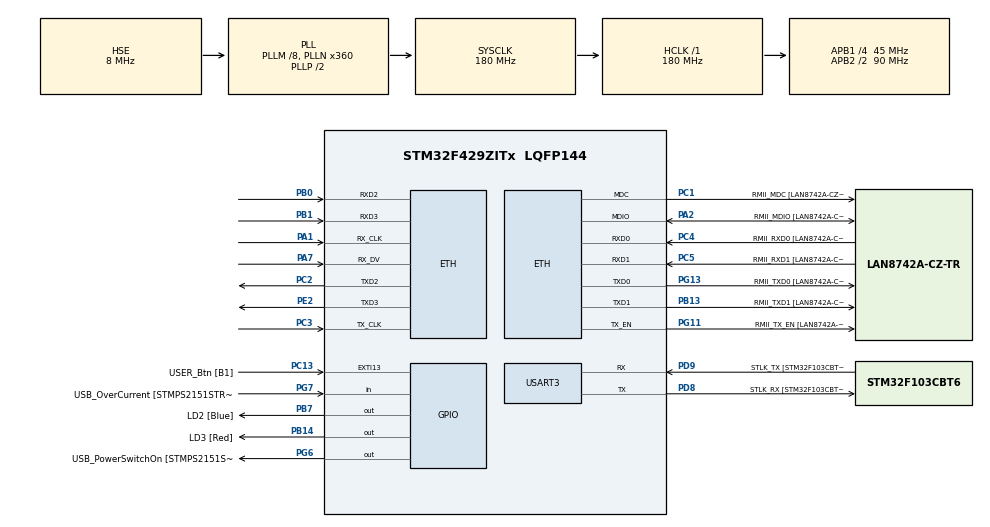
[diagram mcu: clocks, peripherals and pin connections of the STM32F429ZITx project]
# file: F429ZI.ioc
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Dma.Request0=USART3_RX
Dma.Request1=USART3_TX
Dma.USART3_RX.0.Direction=DMA_PERIPH_TO_MEMORY
Dma.USART3_RX.0.FIFOMode=DMA_FIFOMODE_DISABLE
Dma.USART3_RX.0.Instance=DMA1_Stream1
Dma.USART3_RX.0.MemDataAlignment=DMA_MDATAALIGN_BYTE
Dma.USART3_RX.0.MemInc=DMA_MINC_ENABLE
Dma.USART3_RX.0.Mode=DMA_CIRCULAR
Dma.USART3_RX.0.PeriphDataAlignment=DMA_PDATAALIGN_BYTE
Dma.USART3_RX.0.PeriphInc=DMA_PINC_DISABLE
Dma.USART3_RX.0.Priority=DMA_PRIORITY_VERY_HIGH
Dma.USART3_TX.1.Direction=DMA_MEMORY_TO_PERIPH
Dma.USART3_TX.1.FIFOMode=DMA_FIFOMODE_DISABLE
Dma.USART3_TX.1.Instance=DMA1_Stream3
Dma.USART3_TX.1.MemDataAlignment=DMA_MDATAALIGN_BYTE
Dma.USART3_TX.1.MemInc=DMA_MINC_ENABLE
Dma.USART3_TX.1.Mode=DMA_NORMAL
Dma.USART3_TX.1.PeriphDataAlignment=DMA_PDATAALIGN_BYTE
Dma.USART3_TX.1.PeriphInc=DMA_PINC_DISABLE
Dma.USART3_TX.1.Priority=DMA_PRIORITY_VERY_HIGH
ETH.MediaInterface=HAL_ETH_MII_MODE
FREERTOS.Tasks01=defaultTask,24,3000,StartDefaultTask,Default,NULL,Dynamic,NULL,NULL
Mcu.Family=STM32F4
Mcu.Name=STM32F429ZITx
Mcu.Package=LQFP144
NVIC.DMA1_Stream1_IRQn=true\:5\:0\:false\:false\:true\:true\:false\:true\:true
NVIC.DMA1_Stream3_IRQn=true\:5\:0\:false\:false\:true\:true\:false\:true\:true
NVIC.ETH_IRQn=true\:5\:0\:false\:false\:true\:true\:true\:true\:true
NVIC.PriorityGroup=NVIC_PRIORITYGROUP_4
NVIC.TIM1_UP_TIM10_IRQn=true\:15\:0\:false\:false\:true\:false\:false\:true\:true
NVIC.TimeBase=TIM1_UP_TIM10_IRQn
NVIC.TimeBaseIP=TIM1
NVIC.USART3_IRQn=true\:5\:0\:false\:false\:true\:true\:true\:true\:true
PA1.Mode=MII Full Duplex Only
PA1.Signal=ETH_RX_CLK
PA10.GPIO_Label=USB_ID
PA10.Signal=USB_OTG_FS_ID
PA11.GPIO_Label=USB_DM
PA11.Signal=USB_OTG_FS_DM
PA12.GPIO_Label=USB_DP
PA12.Signal=USB_OTG_FS_DP
PA13.GPIO_Label=TMS
PA13.Signal=SYS_JTMS-SWDIO
PA14.GPIO_Label=TCK
PA14.Signal=SYS_JTCK-SWCLK
PA2.GPIO_Label=RMII_MDIO [LAN8742A-CZ-TR_MDIO]
PA2.Mode=MII Full Duplex Only
PA2.Signal=ETH_MDIO
PA7.Mode=MII Full Duplex Only
PA7.Signal=ETH_RX_DV
PA8.GPIO_Label=USB_SOF [TP1]
PA8.Signal=USB_OTG_FS_SOF
PA9.GPIO_Label=USB_VBUS
PA9.Signal=USB_OTG_FS_VBUS
PB0.Mode=MII Full Duplex Only
PB0.Signal=ETH_RXD2
PB1.Mode=MII Full Duplex Only
PB1.Signal=ETH_RXD3
PB13.GPIO_Label=RMII_TXD1 [LAN8742A-CZ-TR_TXD1]
PB13.Mode=MII Full Duplex Only
PB13.Signal=ETH_TXD1
PB14.GPIO_Label=LD3 [Red]
PB14.Signal=GPIO_Output
PB7.GPIO_Label=LD2 [Blue]
PB7.Signal=GPIO_Output
PC1.GPIO_Label=RMII_MDC [LAN8742A-CZ-TR_MDC]
PC1.Mode=MII Full Duplex Only
PC1.Signal=ETH_MDC
PC13.GPIO_Label=USER_Btn [B1]
PC13.Signal=GPXTI13
PC14/OSC32_IN.Signal=RCC_OSC32_IN
PC15/OSC32_OUT.Signal=RCC_OSC32_OUT
PC2.Mode=MII Full Duplex Only
PC2.Signal=ETH_TXD2
PC3.Mode=MII Full Duplex Only
PC3.Signal=ETH_TX_CLK
PC4.GPIO_Label=RMII_RXD0 [LAN8742A-CZ-TR_RXD0]
PC4.Mode=MII Full Duplex Only
PC4.Signal=ETH_RXD0
PC5.GPIO_Label=RMII_RXD1 [LAN8742A-CZ-TR_RXD1]
PC5.Mode=MII Full Duplex Only
PC5.Signal=ETH_RXD1
PD8.GPIO_Label=STLK_RX [STM32F103CBT6_PA3]
PD8.Mode=Asynchronous
PD8.Signal=USART3_TX
PD9.GPIO_Label=STLK_TX [STM32F103CBT6_PA2]
PD9.Mode=Asynchronous
PD9.Signal=USART3_RX
PE2.Mode=MII Full Duplex Only
PE2.Signal=ETH_TXD3
PG11.GPIO_Label=RMII_TX_EN [LAN8742A-CZ-TR_TXEN]
PG11.Mode=MII Full Duplex Only
PG11.Signal=ETH_TX_EN
PG13.GPIO_Label=RMII_TXD0 [LAN8742A-CZ-TR_TXD0]
PG13.Mode=MII Full Duplex Only
PG13.Signal=ETH_TXD0
PG6.GPIO_Label=USB_PowerSwitchOn [STMPS2151STR_EN]
PG6.Signal=GPIO_Output
PG7.GPIO_Label=USB_OverCurrent [STMPS2151STR_FAULT]
PG7.Signal=GPIO_Input
PH0/OSC_IN.GPIO_Label=MCO [STM32F103CBT6_PA8]
PH0/OSC_IN.Mode=HSE-External-Oscillator
PH0/OSC_IN.Signal=RCC_OSC_IN
PH1/OSC_OUT.Mode=HSE-External-Oscillator
PH1/OSC_OUT.Signal=RCC_OSC_OUT
ProjectManager.HeapSize=0x200
ProjectManager.StackSize=0x400
ProjectManager.TargetToolchain=Makefile
RCC.48MHZClocksFreq_Value=90000000
RCC.AHBFreq_Value=180000000
RCC.APB1CLKDivider=RCC_HCLK_DIV4
RCC.APB1Freq_Value=45000000
RCC.APB1TimFreq_Value=90000000
RCC.APB2CLKDivider=RCC_HCLK_DIV2
RCC.APB2Freq_Value=90000000
RCC.APB2TimFreq_Value=180000000
RCC.CortexFreq_Value=180000000
RCC.HCLKFreq_Value=180000000
RCC.HSE_VALUE=8000000
RCC.HSI_VALUE=16000000
RCC.LSE_VALUE=32768
RCC.PLLM=8
RCC.PLLMUL=RCC_PLL_MUL9
RCC.PLLN=360
RCC.PLLSourceVirtual=RCC_PLLSOURCE_HSE
RCC.PRESCALERUSB=RCC_USBCLKSOURCE_PLL_DIV1_5
RCC.SYSCLKFreq_VALUE=180000000
RCC.SYSCLKSource=RCC_SYSCLKSOURCE_PLLCLK
RCC.SYSCLKSourceVirtual=RCC_SYSCLKSOURCE_PLLCLK
RCC.USBFreq_Value=48000000
RCC.VCOOutputFreq_Value=360000000
USART3.VirtualMode=VM_ASYNC
VP_FREERTOS_VS_CMSIS_V2.Mode=CMSIS_V2
VP_SYS_VS_tim1.Mode=TIM1
board=NUCLEO-F429ZI

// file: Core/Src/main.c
/* USER CODE BEGIN Header */
/**
  ******************************************************************************
  * @file           : main.c
  * @brief          : Main program body
  ******************************************************************************
  * @attention
  *
  * Copyright (c) 2024 STMicroelectronics.
  * All rights reserved.
  *
  * This software is licensed under terms that can be found in the LICENSE file
  * in the root directory of this software component.
  * If no LICENSE file comes with this software, it is provided AS-IS.
  *
  ******************************************************************************
  */
/* USER CODE END Header */
#include "main.h"
#include "cmsis_os.h"
#include "dma.h"
#include "eth.h"
#include "usart.h"
#include "gpio.h"

void SystemClock_Config(void);
void MX_FREERTOS_Init(void);

int main(void)
{

  /* MCU Configuration--------------------------------------------------------*/

  /* Reset of all peripherals, Initializes the Flash interface and the Systick. */
  HAL_Init();

  /* Configure the system clock */
  SystemClock_Config();

  /* Initialize all configured peripherals */
  MX_GPIO_Init();
  MX_DMA_Init();
  MX_USART3_UART_Init();
  //MX_ETH_Init();

  /* Init scheduler */
  osKernelInitialize();

  /* Call init function for freertos objects (in cmsis_os2.c) */
  MX_FREERTOS_Init();

  /* Start scheduler */
  osKernelStart();

  /* We should never get here as control is now taken by the scheduler */

  /* Infinite loop */
  while (1)
  {

  }
}

void SystemClock_Config(void)
{
  RCC_OscInitTypeDef RCC_OscInitStruct = {0};
  RCC_ClkInitTypeDef RCC_ClkInitStruct = {0};

  /** Configure the main internal regulator output voltage
  */
  __HAL_RCC_PWR_CLK_ENABLE();
  __HAL_PWR_VOLTAGESCALING_CONFIG(PWR_REGULATOR_VOLTAGE_SCALE1);

  /** Initializes the RCC Oscillators according to the specified parameters
  * in the RCC_OscInitTypeDef structure.
  */
  RCC_OscInitStruct.OscillatorType = RCC_OSCILLATORTYPE_HSE;
  RCC_OscInitStruct.HSEState = RCC_HSE_ON;
  RCC_OscInitStruct.PLL.PLLState = RCC_PLL_ON;
  RCC_OscInitStruct.PLL.PLLSource = RCC_PLLSOURCE_HSE;
  RCC_OscInitStruct.PLL.PLLM = 8;
  RCC_OscInitStruct.PLL.PLLN = 360;
  RCC_OscInitStruct.PLL.PLLP = RCC_PLLP_DIV2;
  RCC_OscInitStruct.PLL.PLLQ = 4;
  if (HAL_RCC_OscConfig(&RCC_OscInitStruct) != HAL_OK)
  {
    Error_Handler();
  }

  /** Activate the Over-Drive mode
  */
  if (HAL_PWREx_EnableOverDrive() != HAL_OK)
  {
    Error_Handler();
  }

  /** Initializes the CPU, AHB and APB buses clocks
  */
  RCC_ClkInitStruct.ClockType = RCC_CLOCKTYPE_HCLK|RCC_CLOCKTYPE_SYSCLK
                              |RCC_CLOCKTYPE_PCLK1|RCC_CLOCKTYPE_PCLK2;
  RCC_ClkInitStruct.SYSCLKSource = RCC_SYSCLKSOURCE_PLLCLK;
  RCC_ClkInitStruct.AHBCLKDivider = RCC_SYSCLK_DIV1;
  RCC_ClkInitStruct.APB1CLKDivider = RCC_HCLK_DIV4;
  RCC_ClkInitStruct.APB2CLKDivider = RCC_HCLK_DIV2;

  if (HAL_RCC_ClockConfig(&RCC_ClkInitStruct, FLASH_LATENCY_5) != HAL_OK)
  {
    Error_Handler();
  }
}

void HAL_TIM_PeriodElapsedCallback(TIM_HandleTypeDef *htim)
{
  if (htim->Instance == TIM1) {
    HAL_IncTick();
  }
}

void Error_Handler(void)
{
  __disable_irq();
  while (1)
  {
  }
}

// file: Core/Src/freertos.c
/* USER CODE BEGIN Header */
/**
  ******************************************************************************
  * File Name          : freertos.c
  * Description        : Code for freertos applications
  ******************************************************************************
  * @attention
  *
  * Copyright (c) 2024 STMicroelectronics.
  * All rights reserved.
  *
  * This software is licensed under terms that can be found in the LICENSE file
  * in the root directory of this software component.
  * If no LICENSE file comes with this software, it is provided AS-IS.
  *
  ******************************************************************************
  */
/* USER CODE END Header */

#include "FreeRTOS.h"
#include "task.h"
#include "main.h"
#include "cmsis_os.h"

/* USER CODE BEGIN Includes */
#include <stdbool.h>
#include <rcl/rcl.h>
#include <rcl/error_handling.h>
#include <rclc/rclc.h>
#include <rclc/executor.h>
#include <uxr/client/transport.h>
#include <rmw_microxrcedds_c/config.h>
#include <rmw_microros/rmw_microros.h>

#include <sensor_msgs/msg/joint_state.h>
#include <std_msgs/msg/int32.h>
#include "usart.h"
#include "can.h"
#include "lwip.h"
/* USER CODE END Includes */

/* USER CODE BEGIN PD */
#define TS 50

#define max(a,b)             \
({                           \
    __typeof__ (a) _a = (a); \
    __typeof__ (b) _b = (b); \
    _a > _b ? _a : _b;       \
})

#define min(a,b)             \
({                           \
    __typeof__ (a) _a = (a); \
    __typeof__ (b) _b = (b); \
    _a < _b ? _a : _b;       \
})

#ifndef ETH_TX_DESC_CNT
#define ETH_TX_DESC_CNT         4U
#endif /* ETH_TX_DESC_CNT */

#ifndef ETH_RX_DESC_CNT
#define ETH_RX_DESC_CNT         4U
#endif /* ETH_RX_DESC_CNT */

/* USER CODE END PD */

/* USER CODE BEGIN Variables */
int i = 50;

rcl_subscription_t subscriber;
rcl_publisher_t publisher;
/* USER CODE END Variables */
/* Definitions for defaultTask */
osThreadId_t defaultTaskHandle;
const osThreadAttr_t defaultTask_attributes = {
  .name = "defaultTask",
  .stack_size = 3000 * 4,
  .priority = (osPriority_t) osPriorityNormal,
};

/* USER CODE BEGIN FunctionPrototypes */
bool cubemx_transport_open(struct uxrCustomTransport * transport);
bool cubemx_transport_close(struct uxrCustomTransport * transport);
size_t cubemx_transport_write(struct uxrCustomTransport* transport, const uint8_t * buf, size_t len, uint8_t * err);
size_t cubemx_transport_read(struct uxrCustomTransport* transport, uint8_t* buf, size_t len, int timeout, uint8_t* err);

void * microros_allocate(size_t size, void * state);
void microros_deallocate(void * pointer, void * state);
void * microros_reallocate(void * pointer, size_t size, void * state);
void * microros_zero_allocate(size_t number_of_elements, size_t size_of_element, void * state);

#ifdef __GNUC__
#define PUTCHAR_PROTOTYPE int __io_putchar(int ch)
#else
#define PUTCHAR_PROTOTYPE int fputc(int ch, FILE *f)
#endif

PUTCHAR_PROTOTYPE
{
  HAL_UART_Transmit(&huart3, (uint8_t *)&ch, 1, HAL_MAX_DELAY);
  return ch;
}

void subscription_callback(const void *);

/* USER CODE END FunctionPrototypes */

void StartDefaultTask(void *argument);

extern void MX_LWIP_Init(void);
void MX_FREERTOS_Init(void); /* (MISRA C 2004 rule 8.1) */

void MX_FREERTOS_Init(void) {

  /* Create the thread(s) */
  /* creation of defaultTask */
  defaultTaskHandle = osThreadNew(StartDefaultTask, NULL, &defaultTask_attributes);

  /* USER CODE BEGIN RTOS_THREADS */
  /* add threads, ... */
  //TaskHandle = osThreadNew(publisherandsubscriber, NULL, &Task_attributes);
  /* USER CODE END RTOS_THREADS */

}

/* USER CODE BEGIN Header_publisher */
/* USER CODE END Header_StartDefaultTask */
void StartDefaultTask(void *argument)
{
  /* init code for LWIP */
  MX_LWIP_Init();
  /* USER CODE BEGIN StartDefaultTask */
  	rcl_ret_t ret;
	ret = rmw_uros_set_custom_transport(
		true,
		(void *) &huart3,         //change in you want a different type of comunication for ros2-agent
		cubemx_transport_open,
		cubemx_transport_close,
		cubemx_transport_write,
		cubemx_transport_read);

	if (ret != RCL_RET_OK)
	{
	    printf("Error setting custom transport");
	    //return;
	}

	rcl_allocator_t freeRTOS_allocator = rcutils_get_zero_initialized_allocator();
	freeRTOS_allocator.allocate = microros_allocate;
	freeRTOS_allocator.deallocate = microros_deallocate;
	freeRTOS_allocator.reallocate = microros_reallocate;
	freeRTOS_allocator.zero_allocate =  microros_zero_allocate;

	if (!rcutils_set_default_allocator(&freeRTOS_allocator))
	{
	  printf("Error on default allocators (line %d)\n", __LINE__);
	}

	// micro-ROS app

	std_msgs__msg__Int32 msg;

	rclc_support_t support;
	rcl_allocator_t allocator;
	//rcl_node_t node1;
	rcl_node_t node;

	allocator = rcl_get_default_allocator();

	//create init_options
	ret = rclc_support_init(&support, 0, NULL, &allocator);
	if(ret != RCL_RET_OK)
	{
	    printf("Error initializing support");
	    return;
	}

	// create node
	//rclc_node_init_default(&node1, "cubemx_node1", "", &support);
	ret = rclc_node_init_default(&node, "cubemx_node", "", &support);
	if(ret!= RCL_RET_OK)
	{
		printf("Error on node_init_default (line %d)\n", __LINE__);
		return;
	}

	// create publisher
	ret = rclc_publisher_init_default(
	  &publisher,
	  &node,
	  ROSIDL_GET_MSG_TYPE_SUPPORT(std_msgs, msg, Int32),
	  "cubemx_publisher");
	if(ret != RCL_RET_OK)
	{
		printf("Error on publisher_init_default (line %d)\n", __LINE__);
		return;
	}

	ret = rclc_subscription_init_default(
	  &subscriber,
	  &node,
	  ROSIDL_GET_MSG_TYPE_SUPPORT(std_msgs, msg, Int32),
	  "cubemx_subscriber");
	if(ret != RCL_RET_OK)
	{
		printf("Error on subscription_init_default (line %d)\n", __LINE__);
		return;
	}

	rclc_executor_t executor = rclc_executor_get_zero_initialized_executor();
	ret = rclc_executor_init(&executor, &support.context, 1, &allocator);
	if(ret != RCL_RET_OK)
	{
		printf("Error on executor_init (line %d)\n", __LINE__);
		return;
	}

	ret = rclc_executor_add_subscription(&executor, &subscriber, &msg, &subscription_callback, ON_NEW_DATA);
	if(ret != RCL_RET_OK)
	{
		printf("Error on executor_add_subscription (line %d)\n", __LINE__);
		return;
	}

	//rclc_subscriber_init_default

	for(;;)
	{
		ret = rclc_executor_spin_some(&executor, RCL_MS_TO_NS(1000));  // timeout di 100 ms
		if(ret != RCL_RET_OK)
		{
			printf("Error in executor spin_some (line %d)\n", __LINE__);
			return;
		}
		//HAL_Delay(100);
	}
  /* USER CODE END StartDefaultTask */
}

/* USER CODE BEGIN Application */
void subscription_callback(const void *msgin)
{
	rcl_ret_t ret;
	const std_msgs__msg__Int32 *msg = (const std_msgs__msg__Int32 *)msgin;

	msg1.data = msg->data;
	//msg->data = (uint32_t)rx;

	ret = rcl_publish(&publisher, &msg1, NULL);
	if (ret != RCL_RET_OK)
	{
		printf("Error publishing (line %d)\n", __LINE__);
	}

	//printf("Received: %d\n", msg->data);
}

/* USER CODE END Application */
